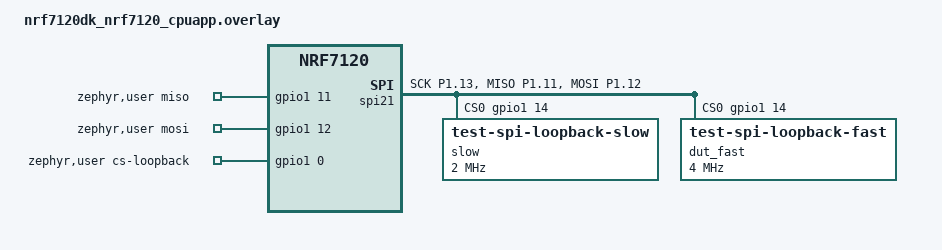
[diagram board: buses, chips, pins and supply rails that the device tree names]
/*
 * Copyright (c) 2026 Nordic Semiconductor ASA
 *
 * SPDX-License-Identifier: Apache-2.0
 */

/*
 * Test requires following loopback:
 * P1.11 - P1.12
 */

/ {
	zephyr,user {
		miso-gpios = <&gpio1 11 GPIO_ACTIVE_HIGH>;
		mosi-gpios = <&gpio1 12 GPIO_ACTIVE_HIGH>;
		cs-loopback-gpios = <&gpio1 0 0>;
	};
};

&pinctrl {
	spi21_default: spi21_default {
		group1 {
			psels = <NRF_PSEL(SPIM_SCK, 1, 13)>,
				<NRF_PSEL(SPIM_MISO, 1, 11)>,
				<NRF_PSEL(SPIM_MOSI, 1, 12)>;
			low-power-enable;
		};
	};

	spi21_sleep: spi21_sleep {
		group1 {
			psels = <NRF_PSEL(SPIM_SCK, 1, 13)>,
				<NRF_PSEL(SPIM_MISO, 1, 11)>,
				<NRF_PSEL(SPIM_MOSI, 1, 12)>;
			low-power-enable;
		};
	};
};

&spi21 {
	status = "okay";
	pinctrl-0 = <&spi21_default>;
	pinctrl-1 = <&spi21_sleep>;
	pinctrl-names = "default", "sleep";
	overrun-character = <0x00>;
	zephyr,pm-device-runtime-auto;
	cs-gpios = <&gpio1 14 0>;

	slow@0 {
		compatible = "test-spi-loopback-slow";
		reg = <0>;
		spi-max-frequency = <DT_FREQ_M(2)>;
	};

	dut_fast: fast@0 {
		compatible = "test-spi-loopback-fast";
		reg = <0>;
		spi-max-frequency = <DT_FREQ_M(4)>;
	};
};

&gpio1 {
	status = "okay";
};
